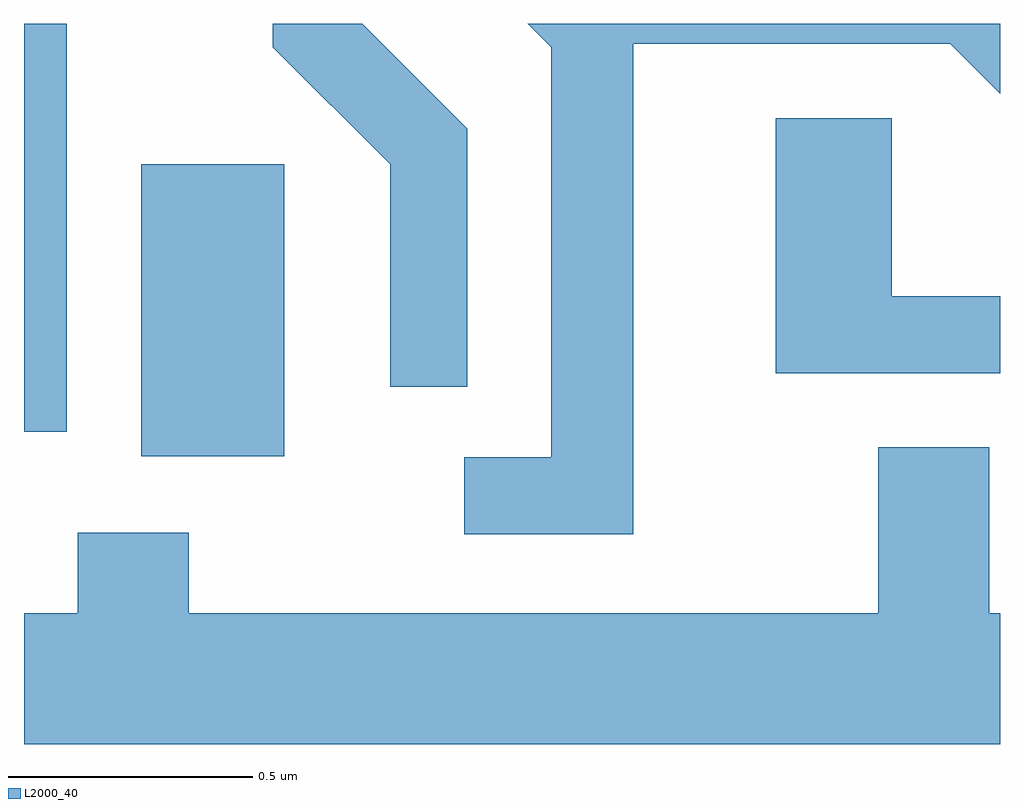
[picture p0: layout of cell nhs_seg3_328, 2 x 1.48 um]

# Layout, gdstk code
import gdstk
lib = gdstk.Library(unit=1e-6, precision=1e-09)
def R(c, l, rs):  # rectangles x0, y0, x1, y1
    for r in rs: c.add(gdstk.rectangle(r[:2], r[2:], *l))
def P(c, l, *ps):  # polygons
    for p in ps: c.add(gdstk.Polygon(p, *l))
L2000_40 = (2000, 40)

nhs_seg3_328 = lib.new_cell('nhs_seg3_328')
R(nhs_seg3_328, L2000_40, [(187.851,1171.006,188.144,1171.604), (187.611,1171.056,187.699,1171.892)])
P(nhs_seg3_328, L2000_40, [(188.519,1171.677),(188.304,1171.892),(188.121,1171.892),(188.121,1171.844),(188.361,1171.604),(188.361,1171.148),(188.519,1171.148)],
  [(188.859,1171.851),(189.509,1171.851),(189.611,1171.749),(189.611,1171.892),(188.643,1171.892),(188.691,1171.844),(188.691,1171.004),(188.513,1171.004),(188.513,1170.846),(188.859,1170.846)],
  [(189.611,1171.334),(189.389,1171.334),(189.389,1171.699),(189.151,1171.699),(189.151,1171.176),(189.611,1171.176)],
  [(189.611,1170.684),(189.589,1170.684),(189.589,1171.024),(189.361,1171.024),(189.361,1170.684),(187.949,1170.684),(187.949,1170.849),(187.721,1170.849),(187.721,1170.684),(187.611,1170.684),(187.611,1170.416),(189.611,1170.416)])

lib.write_gds('nhs_seg3_328.gds')
